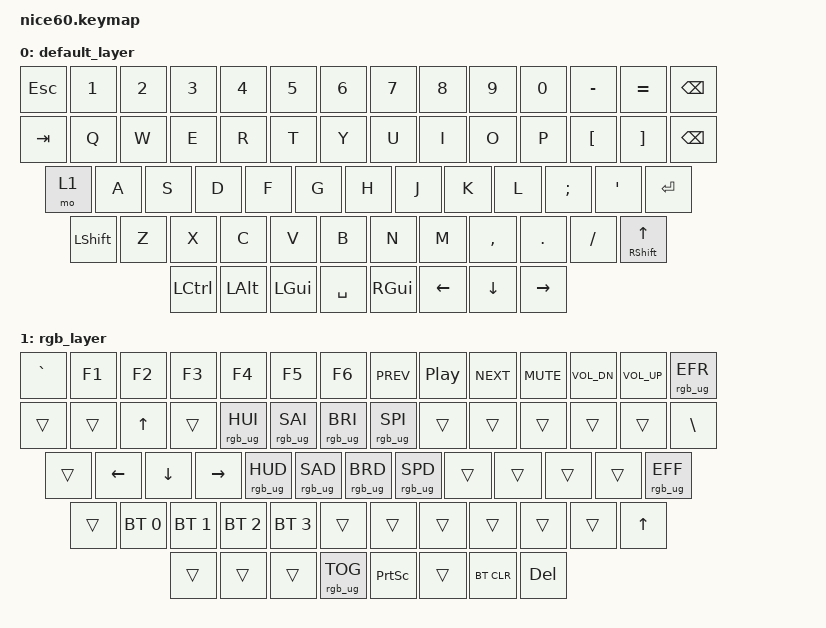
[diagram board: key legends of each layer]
/*
 * Copyright (c) 2021 Nick Winans
 *
 * SPDX-License-Identifier: MIT
 */

#include <behaviors.dtsi>
#include <dt-bindings/zmk/keys.h>
#include <dt-bindings/zmk/rgb.h>
#include <dt-bindings/zmk/bt.h>
#include <dt-bindings/zmk/outputs.h>
#include <dt-bindings/zmk/reset.h>
#include <dt-bindings/zmk/ext_power.h>

/ {
	keymap {
		compatible = "zmk,keymap";
		
		default_layer {
// ------------------------------------------------------------------------------------------
// | ESC   |  1  |  2  |  3  |  4  |  5  |  6  |  7  |  8  |  9  |  0  |  -  |  =  |   BKSP   |
// | TAB  |  Q  |  W  |  E  |  R  |  T  |  Y  |  U  |  I  |  O  |  P  |  [  |  ]  |   BKSP  |
// | MO(1)  |  A  |  S  |  D  |  F  |  G  |  H  |  J  |  K  |  L  |  ;  |  '  |     ENTER    |
// |  SHIFT  |  Z  |  X  |  C  |  V  |  B  |  N  |  M  |  ,  |  .  |  /  |      MT RSHIFT UP       |
// | CTRL  |  LALT  |  LWIN  |             SPACE              |  RWIN  |  LT  | DN |  RT  |
// ------------------------------------------------------------------------------------------
			bindings = <
	&kp ESC &kp N1   &kp N2 &kp N3 &kp N4 &kp N5 &kp N6 &kp N7 &kp N8    &kp N9 &kp N0   &kp MINUS &kp EQUAL &kp BSPC
	&kp TAB   &kp Q    &kp W  &kp E  &kp R  &kp T  &kp Y  &kp U  &kp I     &kp O  &kp P    &kp LBKT  &kp RBKT  &kp BSPC
	&mo 1 &kp A    &kp S  &kp D  &kp F  &kp G  &kp H  &kp J  &kp K     &kp L  &kp SEMI &kp SQT             &kp RET
	&kp LSHFT &kp Z    &kp X  &kp C  &kp V  &kp B  &kp N  &kp M  &kp COMMA &kp DOT         &kp FSLH            &mt RSHIFT UP
	&kp LCTRL     &kp LALT &kp LGUI             &kp SPACE                      &kp RGUI        &kp LEFT  &kp DOWN  &kp RIGHT
			>;
		};

		rgb_layer {
// ----------------------------------------------------------------------------------------------
// | ~ | F1  | F2  | F3  | F4  | F5  | F6  | PREV  | PLAY/PAUSE  | NEXT  | MUTE  | VOLDN | VOLUP | EFFECT REV  |
// |   |   | UP |   | HUEUP | SATUP | BRIUP | SPDUP |   |     |    |     |     |    "|"      |
// |    | LT |  DN  | RT | HUEDN | SATDN | BRIDN | SPDDN |   |    |     |     | EFFECT FORW |
// |        | BT 1 | BT 2 | BT 3 | BT 4 |    |    |   |     |     |     |  UP   |
// |   |        |      |             TOG RGB               | PRT SCR |       | BT CLR | DEL |
// ----------------------------------------------------------------------------------------------
			bindings = <
	&kp GRAVE      &kp F1       &kp F2       &kp F3       &kp F4           &kp F5          &kp F6          &kp C_PREV          &kp C_PLAY_PAUSE   &kp C_NEXT    &kp C_MUTE   &kp C_VOL_DN &kp C_VOL_UP   &rgb_ug RGB_EFR
	&trans &trans       &kp UP       &trans       &rgb_ug RGB_HUI  &rgb_ug RGB_SAI &rgb_ug RGB_BRI &rgb_ug RGB_SPI &trans   &trans    &trans    &trans  &trans    &kp BSLH 
	&trans &kp LEFT     &kp DOWN     &kp RIGHT    &rgb_ug RGB_HUD  &rgb_ug RGB_SAD &rgb_ug RGB_BRD &rgb_ug RGB_SPD &trans   &trans    &trans    &trans            &rgb_ug RGB_EFF
	&trans &bt BT_SEL 0   &bt BT_SEL 1 &bt BT_SEL 2 &bt BT_SEL 3  &trans      &trans      &trans          &trans   &trans    &trans                      &kp UP
	&trans       &trans &trans                                      &rgb_ug RGB_TOG                                                   &kp PSCRN &trans &bt BT_CLR &kp DEL
			>;
		};
	};
};
